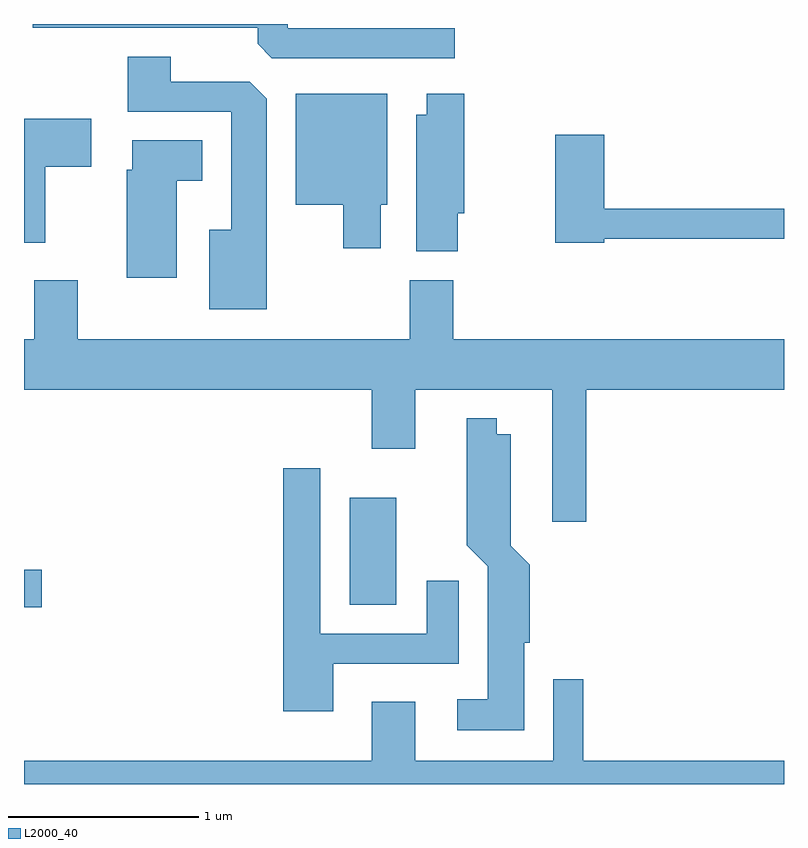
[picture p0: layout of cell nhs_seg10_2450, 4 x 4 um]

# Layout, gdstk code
import gdstk
lib = gdstk.Library(unit=1e-6, precision=1e-09)
def R(c, l, rs):  # rectangles x0, y0, x1, y1
    for r in rs: c.add(gdstk.rectangle(r[:2], r[2:], *l))
def P(c, l, *ps):  # polygons
    for p in ps: c.add(gdstk.Polygon(p, *l))
L2000_40 = (2000, 40)

nhs_seg10_2450 = lib.new_cell('nhs_seg10_2450')
R(nhs_seg10_2450, L2000_40, [(257.611,2099.451,257.704,2099.649), (259.326,2099.466,259.569,2100.029)])
P(nhs_seg10_2450, L2000_40, [(259.878,2102.499),(258.999,2102.499),(258.999,2102.522),(257.658,2102.522),(257.658,2102.501),(258.841,2102.501),(258.841,2102.417),(258.916,2102.341),(259.878,2102.341)],
  [(258.889,2102.129),(258.799,2102.219),(258.384,2102.219),(258.384,2102.349),(258.156,2102.349),(258.156,2102.061),(258.701,2102.061),(258.701,2101.439),(258.586,2101.439),(258.586,2101.021),(258.889,2101.021)],
  [(259.489,2101.571),(259.524,2101.571),(259.524,2102.154),(259.041,2102.154),(259.041,2101.571),(259.291,2101.571),(259.291,2101.341),(259.489,2101.341)],
  [(259.894,2101.526),(259.929,2101.526),(259.929,2102.154),(259.731,2102.154),(259.731,2102.044),(259.676,2102.044),(259.676,2101.326),(259.894,2101.326)],
  [(257.724,2101.771),(257.964,2101.771),(257.964,2102.024),(257.611,2102.024),(257.611,2101.371),(257.724,2101.371)],
  [(260.664,2101.391),(261.611,2101.391),(261.611,2101.549),(260.664,2101.549),(260.664,2101.939),(260.406,2101.939),(260.406,2101.371),(260.664,2101.371)],
  [(258.414,2101.696),(258.549,2101.696),(258.549,2101.909),(258.181,2101.909),(258.181,2101.754),(258.151,2101.754),(258.151,2101.186),(258.414,2101.186)],
  [(260.569,2100.596),(261.611,2100.596),(261.611,2100.864),(259.869,2100.864),(259.869,2101.174),(259.641,2101.174),(259.641,2100.864),(257.894,2100.864),(257.894,2101.174),(257.666,2101.174),(257.666,2100.864),(257.611,2100.864),(257.611,2100.596),(259.441,2100.596),(259.441,2100.286),(259.669,2100.286),(259.669,2100.596),(260.391,2100.596),(260.391,2099.901),(260.569,2099.901)],
  [(260.244,2099.266),(260.274,2099.266),(260.274,2099.677),(260.174,2099.777),(260.174,2100.364),(260.099,2100.364),(260.099,2100.448),(259.941,2100.448),(259.941,2099.779),(260.051,2099.669),(260.051,2098.969),(259.892,2098.969),(259.892,2098.806),(260.244,2098.806)],
  [(259.239,2099.156),(259.899,2099.156),(259.899,2099.593),(259.731,2099.593),(259.731,2099.314),(259.169,2099.314),(259.169,2100.184),(258.976,2100.184),(258.976,2098.906),(259.239,2098.906)],
  [(261.611,2098.644),(260.554,2098.644),(260.554,2099.073),(260.396,2099.073),(260.396,2098.644),(259.669,2098.644),(259.669,2098.954),(259.441,2098.954),(259.441,2098.644),(257.611,2098.644),(257.611,2098.522),(261.611,2098.522)])

lib.write_gds('nhs_seg10_2450.gds')
